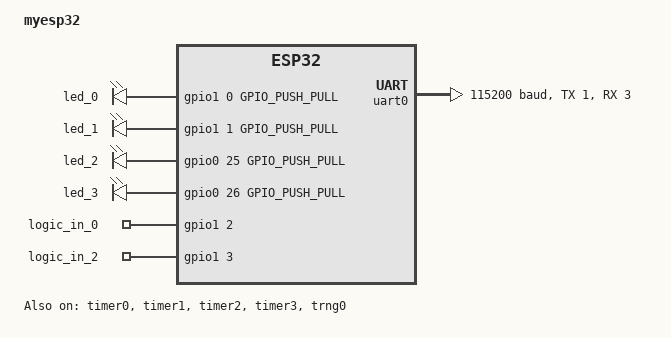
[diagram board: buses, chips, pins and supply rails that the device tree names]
/*
 * Copyright (c) 2019 Intel Corporation.
 *
 * SPDX-License-Identifier: Apache-2.0
 */
/dts-v1/;

#include <espressif/esp32.dtsi>

/ {
	model = "myesp32";
	compatible = "espressif,esp32";

	aliases {
		uart-0 = &uart0;
		i2c-0 = &i2c0;
	};

	chosen {
		zephyr,sram = &sram0;
		zephyr,console = &uart0;
		zephyr,shell-uart = &uart0;
		zephyr,flash = &flash0;
	};

	outputs {
		compatible = "gpio-leds";
		led_0: led_0 {
			gpios = <&gpio1 0 GPIO_PUSH_PULL>;
		};
		led_1: led_1 {
			gpios = <&gpio1 1 GPIO_PUSH_PULL>;
		};
		led_2: led_2 {
			gpios = <&gpio0 25 GPIO_PUSH_PULL>;
		};
		led_3: led_3 {
			gpios = <&gpio0 26 GPIO_PUSH_PULL>;
		};
	};
	inputs {
		compatible = "gpio-keys";
		logic_in_0: logic_in0 {
			label = "logic_in_0";
			gpios = <&gpio1 2 GPIO_SINGLE_ENDED>;
		};
		logic_in_1: logic_in1 {
			label = "logic_in_2";
			gpios = <&gpio1 3 GPIO_SINGLE_ENDED>;
		};
	};
};

&cpu0 {
	clock-frequency = <ESP32_CLK_CPU_240M>;
};

&cpu1 {
	clock-frequency = <ESP32_CLK_CPU_240M>;
};

&uart0 {
	status = "okay";
	current-speed = <115200>;
	tx-pin = <1>;
	rx-pin = <3>;
//	rts-pin = <22>;
//	cts-pin = <19>;
};

//&uart1 {
//	current-speed = <115200>;
//	tx-pin = <10>;
//	rx-pin = <9>;
//	rts-pin = <11>;
//	cts-pin = <6>;
//	hw-flow-control;
//};

//&uart2 {
//	current-speed = <115200>;
//	tx-pin = <17>;
//	rx-pin = <16>;
//	rts-pin = <7>;
//	cts-pin = <8>;
//	hw-flow-control;
//};

/*
&i2c0 {
	status = "okay";
	clock-frequency = <I2C_BITRATE_FAST>;
	sda-pin = <21>;
	scl-pin = <22>;
};

&i2c1 {
	clock-frequency = <I2C_BITRATE_FAST>;
	sda-pin = <18>;
	scl-pin = <5>;
};
&spi2 {
	#address-cells = <1>;
	#size-cells = <0>;
	status = "okay";
	miso-pin = <12>;
	mosi-pin = <13>;
	sclk-pin = <14>;
	csel-pin = <15>;
};

&spi3 {
	#address-cells = <1>;
	#size-cells = <0>;
	status = "okay";
	miso-pin = <19>;
	mosi-pin = <23>;
	sclk-pin = <18>;
	csel-pin = <5>;
};
*/
&timer0 {
	status = "okay";
};

&timer1 {
	status = "okay";
};

&timer2 {
	status = "okay";
};

&timer3 {
	status = "okay";
};

&trng0 {
	status = "okay";
};

&flash0 {
	status = "okay";
	partitions {
		compatible = "fixed-partitions";
		#address-cells = <1>;
		#size-cells = <1>;

		storage_partition: partition@9000 {
			label = "storage";
			reg = <0x00009000 0x00006000>;
		};
	};
};
